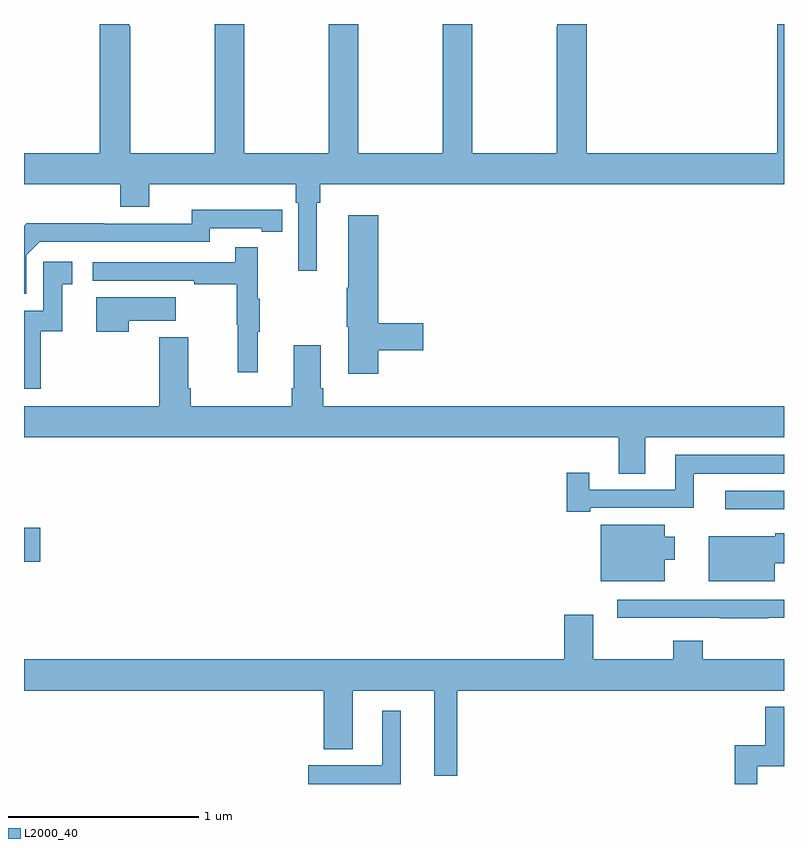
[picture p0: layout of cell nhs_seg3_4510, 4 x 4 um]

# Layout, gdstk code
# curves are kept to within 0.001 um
import gdstk
lib = gdstk.Library(unit=1e-6, precision=1e-09)
def R(c, l, rs):  # rectangles x0, y0, x1, y1
    for r in rs: c.add(gdstk.rectangle(r[:2], r[2:], *l))
def P(c, l, *ps):  # polygons
    for p in ps: c.add(gdstk.Polygon(p, *l))
L2000_40 = (2000, 40)

nhs_seg3_4510 = lib.new_cell('nhs_seg3_4510')
R(nhs_seg3_4510, L2000_40, [(351,725.57,351.085,725.748), (354.69,725.847,355,725.943)])
P(nhs_seg3_4510, L2000_40, [(352.54,727.46),(352.559,727.46),(352.559,727.556),(355,727.556),(355,728.4),(354.965,728.4),(354.965,727.72),(353.963,727.72),(353.963,728.4),(353.807,728.4),(353.807,728.387),(353.803,728.387),(353.803,727.72),(353.358,727.72),(353.358,728.4),(353.203,728.4),(353.203,727.72),(352.758,727.72),(352.758,728.4),(352.603,728.4),(352.603,727.72),(352.158,727.72),(352.158,728.4),(352.003,728.4),(352.003,727.72),(351.558,727.72),(351.558,728.387),(351.553,728.387),(351.553,728.4),(351.398,728.4),(351.398,727.72),(351,727.72),(351,727.556),(351.506,727.556),(351.506,727.439),(351.658,727.439),(351.658,727.556),(352.43,727.556),(352.43,727.46),(352.443,727.46),(352.443,727.101),(352.54,727.101)],
  [(351.012,727.182),(351.084,727.254),(351.978,727.254),(351.978,727.326),(352.25,727.326),(352.25,727.306),(352.358,727.306),(352.358,727.422),(351.882,727.423),(351.882,727.35),(351.422,727.35),(351.422,727.352),(351.014,727.352),(351,727.338),(351,726.981),(351.012,726.981)],
  [(352.865,726.682),(353.101,726.682),(353.101,726.824),(352.865,726.824),(352.865,727.393),(352.706,727.393),(352.706,727.013),(352.699,727.013),(352.699,726.807),(352.706,726.807),(352.706,726.558),(352.865,726.558)],
  [(352.229,726.779),(352.24,726.779),(352.24,726.953),(352.229,726.953),(352.229,727.225),(352.111,727.225),(352.111,727.146),(351.363,727.146),(351.363,727.05),(351.895,727.05),(351.895,727.03),(352.119,727.03),(352.119,726.816),(352.126,726.816),(352.126,726.567),(352.229,726.567)],
  [(351.089,726.783),(351.2,726.783),(351.2,727.029),(351.253,727.029),(351.253,727.15),(351.102,727.15),(351.102,726.891),(351,726.891),(351,726.48),(351.089,726.48)],
  [(351.551,726.839),(351.799,726.839),(351.799,726.961),(351.38,726.961),(351.38,726.78),(351.551,726.78)],
  [(354.271,726.224),(355,726.224),(355,726.388),(352.574,726.388),(352.574,726.484),(352.561,726.484),(352.561,726.709),(352.421,726.709),(352.421,726.484),(352.409,726.484),(352.409,726.388),(351.878,726.388),(351.878,726.484),(351.865,726.484),(351.865,726.751),(351.713,726.751),(351.713,726.388),(351,726.388),(351,726.224),(354.131,726.224),(354.131,726.034),(354.271,726.034)],
  [(353.98,725.853),(354.526,725.853),(354.526,726.032),(355,726.032),(355,726.133),(354.428,726.133),(354.428,725.949),(353.974,725.949),(353.974,726.037),(353.857,726.037),(353.857,725.833),(353.98,725.833)],
  [(354.373,725.579),(354.424,725.579),(354.424,725.701),(354.373,725.701),(354.373,725.764),(354.035,725.764),(354.035,725.468),(354.373,725.468)],
  [(354.952,725.561),(355,725.561),(355,725.719),(354.954,725.719),(354.954,725.704),(354.605,725.704),(354.605,725.468),(354.952,725.468)],
  [(354.917,725.274),(355,725.274),(355,725.37),(354.123,725.37),(354.123,725.274),(354.661,725.274),(354.661,725.273),(354.917,725.273)],
  [(353.281,724.892),(355,724.892),(355,725.056),(354.573,725.056),(354.573,725.155),(354.418,725.155),(354.418,725.056),(353.995,725.056),(353.995,725.29),(353.843,725.29),(353.843,725.056),(351,725.056),(351,724.892),(352.577,724.892),(352.577,724.583),(352.729,724.583),(352.729,724.892),(353.159,724.892),(353.159,724.443),(353.281,724.443)],
  [(354.858,724.494),(355,724.494),(355,724.807),(354.901,724.807),(354.901,724.603),(354.742,724.603),(354.742,724.4),(354.858,724.4)],
  [(352.984,724.786),(352.886,724.786),(352.886,724.498),(352.496,724.498),(352.496,724.4),(352.984,724.4)])

lib.write_gds('nhs_seg3_4510.gds')
